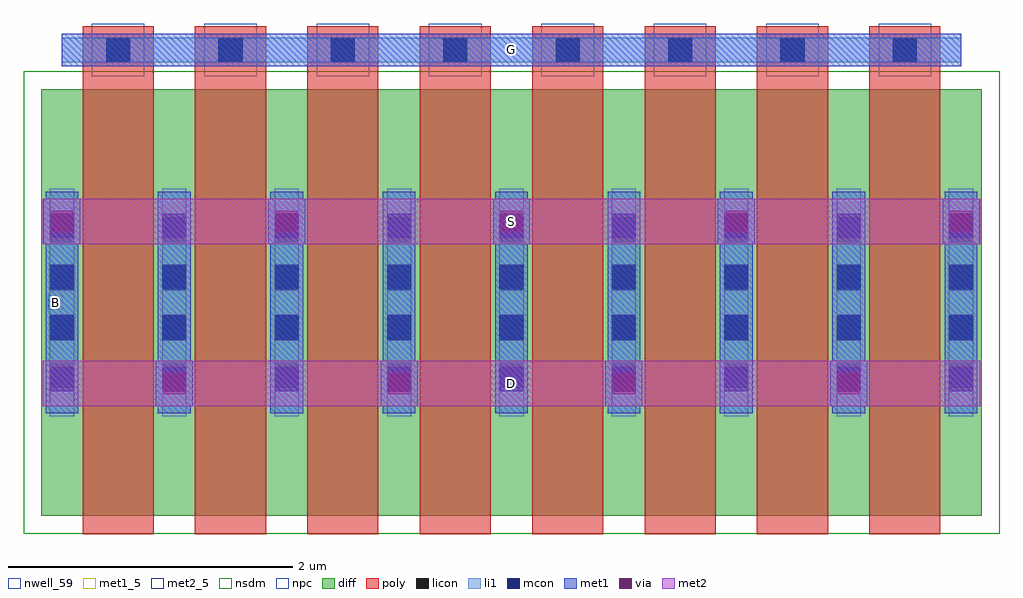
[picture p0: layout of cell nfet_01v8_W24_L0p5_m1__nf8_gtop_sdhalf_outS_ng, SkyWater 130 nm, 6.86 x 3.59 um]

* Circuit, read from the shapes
.subckt nfet_01v8_W24_L0p5_m1__nf8_gtop_sdhalf_outS_ng B D G S
XM1 D G S B sky130_fd_pr__nfet_01v8 w=3 l=0.5 m=8
.ends

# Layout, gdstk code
import gdstk
lib = gdstk.Library(unit=1e-6, precision=1e-09)
def R(c, l, rs):  # rectangles x0, y0, x1, y1
    for r in rs: c.add(gdstk.rectangle(r[:2], r[2:], *l))
def A(c, l, x, y, w, h, nx, ny, dx, dy):  # array of equal rectangles
    R(c, l, [(x+i*dx, y+j*dy, x+i*dx+w, y+j*dy+h) for i in range(nx) for j in range(ny)])
nwell_59 = (64, 59)
diff = (65, 20)
poly = (66, 20)
licon = (66, 44)
li1 = (67, 20)
mcon = (67, 44)
met1_5 = (68, 5)
met1 = (68, 20)
via = (68, 44)
met2_5 = (69, 5)
met2 = (69, 20)
nsdm = (93, 44)
npc = (95, 20)

sky130_fd_pr__nfet_01v8_ = lib.new_cell('sky130_fd_pr__nfet_01v8_RLTSNB')
R(sky130_fd_pr__nfet_01v8_, diff, [(-3.305,-1.655,3.305,1.345)])
A(sky130_fd_pr__nfet_01v8_, poly, -3.015, -1.785, 0.5, 3.57, 8, 1, 0.79, 0)
A(sky130_fd_pr__nfet_01v8_, licon, -3.245, -0.75, 0.17, 0.17, 9, 4, 0.79, 0.34)
A(sky130_fd_pr__nfet_01v8_, licon, -2.85, 1.535, 0.17, 0.17, 8, 1, 0.79, 0)
A(sky130_fd_pr__nfet_01v8_, li1, -3.245, -0.955, 0.17, 1.6, 9, 1, 0.79, 0)
R(sky130_fd_pr__nfet_01v8_, li1, [(-3.16,1.535,3.16,1.705)])
A(sky130_fd_pr__nfet_01v8_, mcon, -3.245, -0.78, 0.17, 0.17, 9, 4, 0.79, 0.36)
A(sky130_fd_pr__nfet_01v8_, mcon, -2.85, 1.535, 0.17, 0.17, 8, 1, 0.79, 0)
A(sky130_fd_pr__nfet_01v8_, met1, -3.275, -0.935, 0.23, 1.56, 9, 1, 0.79, 0)
A(sky130_fd_pr__nfet_01v8_, met1, -2.995, 1.505, 0.46, 0.03, 8, 2, 0.79, 0.2)
R(sky130_fd_pr__nfet_01v8_, met1, [(-3.16,1.535,3.16,1.705)])
R(sky130_fd_pr__nfet_01v8_, nsdm, [(-3.43,-1.78,3.43,1.47)])
A(sky130_fd_pr__nfet_01v8_, npc, -2.95, 1.435, 0.37, 0.37, 8, 1, 0.79, 0)
sky130_fd_pr__nfet_01v8_.add(gdstk.Label('D0', (-3.16,-0.155), layer=67, texttype=5))
sky130_fd_pr__nfet_01v8_.add(gdstk.Label('G', (2.765,1.62), layer=67, texttype=5))
sky130_fd_pr__nfet_01v8_.add(gdstk.Label('G', (1.975,1.62), layer=67, texttype=5))
sky130_fd_pr__nfet_01v8_.add(gdstk.Label('G', (1.185,1.62), layer=67, texttype=5))
sky130_fd_pr__nfet_01v8_.add(gdstk.Label('G', (0.395,1.62), layer=67, texttype=5))
sky130_fd_pr__nfet_01v8_.add(gdstk.Label('G', (-0.395,1.62), layer=67, texttype=5))
sky130_fd_pr__nfet_01v8_.add(gdstk.Label('G', (-1.185,1.62), layer=67, texttype=5))
sky130_fd_pr__nfet_01v8_.add(gdstk.Label('G', (-1.975,1.62), layer=67, texttype=5))
sky130_fd_pr__nfet_01v8_.add(gdstk.Label('G', (-2.765,1.62), layer=67, texttype=5))
sky130_fd_pr__nfet_01v8_.add(gdstk.Label('S1', (-2.37,-0.155), layer=67, texttype=5))
sky130_fd_pr__nfet_01v8_.add(gdstk.Label('D2', (-1.58,-0.155), layer=67, texttype=5))
sky130_fd_pr__nfet_01v8_.add(gdstk.Label('S3', (-0.79,-0.155), layer=67, texttype=5))
sky130_fd_pr__nfet_01v8_.add(gdstk.Label('D4', (0,-0.155), layer=67, texttype=5))
sky130_fd_pr__nfet_01v8_.add(gdstk.Label('S5', (0.79,-0.155), layer=67, texttype=5))
sky130_fd_pr__nfet_01v8_.add(gdstk.Label('D6', (1.58,-0.155), layer=67, texttype=5))
sky130_fd_pr__nfet_01v8_.add(gdstk.Label('S7', (2.37,-0.155), layer=67, texttype=5))

nfet_01v8_w24_l0p5_m1__n = lib.new_cell('nfet_01v8_W24_L0p5_m1__nf8_gtop_sdhalf_outS_ng')
R(nfet_01v8_w24_l0p5_m1__n, nwell_59, [(0.05,1.58,0.15,1.68)])
R(nfet_01v8_w24_l0p5_m1__n, met1_5, [(0.145,3.29,6.465,3.52)])
A(nfet_01v8_w24_l0p5_m1__n, met1, 0.805, 0.9, 0.26, 0.32, 4, 1, 1.58, 0)
A(nfet_01v8_w24_l0p5_m1__n, met1, 0.015, 2.04, 0.26, 0.32, 5, 1, 1.58, 0)
R(nfet_01v8_w24_l0p5_m1__n, met1, [(0.145,3.29,6.465,3.52)])
A(nfet_01v8_w24_l0p5_m1__n, via, 0.86, 0.985, 0.15, 0.15, 4, 1, 1.58, 0)
A(nfet_01v8_w24_l0p5_m1__n, via, 0.07, 2.125, 0.15, 0.15, 5, 1, 1.58, 0)
R(nfet_01v8_w24_l0p5_m1__n, met2_5, [(0.01,0.9,6.6,1.22), (0.01,2.04,6.6,2.36)])
R(nfet_01v8_w24_l0p5_m1__n, met2, [(0.01,0.9,6.6,1.22), (0.01,2.04,6.6,2.36)])
nfet_01v8_w24_l0p5_m1__n.add(gdstk.Reference(sky130_fd_pr__nfet_01v8_, (3.305,1.785)))
nfet_01v8_w24_l0p5_m1__n.add(gdstk.Label('S', (3.305,2.2), layer=69, texttype=5))
nfet_01v8_w24_l0p5_m1__n.add(gdstk.Label('D', (3.305,1.06), layer=69, texttype=5))
nfet_01v8_w24_l0p5_m1__n.add(gdstk.Label('G', (3.305,3.405), layer=68, texttype=5))
nfet_01v8_w24_l0p5_m1__n.add(gdstk.Label('B', (0.1,1.63), layer=64, texttype=59))

lib.write_gds('nfet_01v8_W24_L0p5_m1__nf8_gtop_sdhalf_outS_ng.gds')
